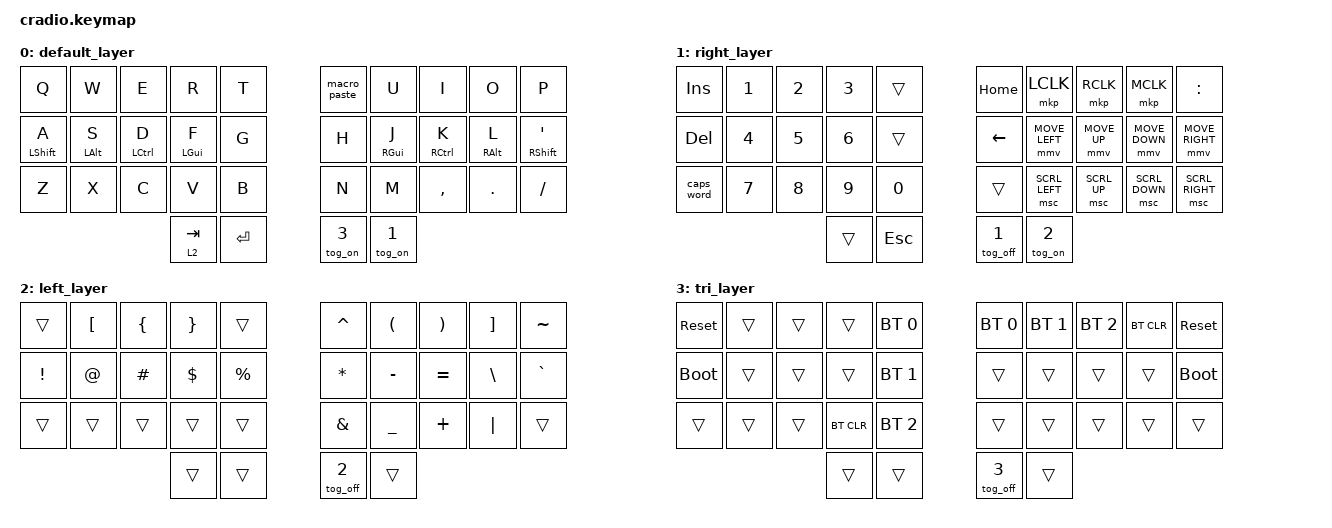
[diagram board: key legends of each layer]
// COPYRIGHT (C) 2022 THE ZMK CONTRIBUTORS
// SPDX-License-Identifier: MIT

#include <behaviors.dtsi>
#include <dt-bindings/zmk/bt.h>
#include <dt-bindings/zmk/keys.h>
#include <dt-bindings/zmk/pointing.h>

/ {
    behaviors {
        ht: hold_tap {
            compatible = "zmk,behavior-hold-tap";
            #binding-cells = <2>;
            flavor = "tap-preferred";
            tapping-term-ms = <220>;
            quick-tap-ms = <150>;
            require-prior-idle-ms = <100>;
            bindings = <&kp>, <&kp>;
        };

        tog_on: toggle_layer_on_only {
            compatible = "zmk,behavior-toggle-layer";
            #binding-cells = <1>;
            display-name = "toggle layer on";
            toggle-mode = "on";
        };

        tog_off: toggle_layer_off_only {
            compatible = "zmk,behavior-toggle-layer";
            #binding-cells = <1>;
            display-name = "toggle layer off";
            toggle-mode = "off";
        };
    };

    macros {
        macro_copy: macro_copy {
            compatible = "zmk,behavior-macro";
            #binding-cells = <0>;
            bindings =
                <&macro_press>,
                <&kp LCTRL>,
                <&macro_tap>,
                <&kp C>,
                <&macro_release>,
                <&kp LCTRL>;
        };

        macro_paste: macro_paste {
            compatible = "zmk,behavior-macro";
            #binding-cells = <0>;
            bindings =
                <&macro_press>,
                <&kp LCTRL>,
                <&macro_tap>,
                <&kp V>,
                <&macro_release>,
                <&kp LCTRL>;
        };
    };

    keymap {
        compatible = "zmk,keymap";

        default_layer {
            bindings = <
&kp Q        &kp W       &kp E        &kp R       &kp T        &macro_paste  &kp U       &kp I        &kp O       &kp P
&ht LSHFT A  &ht LALT S  &ht LCTRL D  &ht LGUI F  &kp G        &kp H         &ht RGUI J  &ht RCTRL K  &ht RALT L  &ht RSHFT SQT
&kp Z        &kp X       &kp C        &kp V       &kp B        &kp N         &kp M       &kp COMMA    &kp DOT     &kp FSLH
                                      &lt 2 TAB   &kp ENTER    &tog_on 3     &tog_on 1
            >;
        };

        right_layer {
            bindings = <
&kp INS     &kp N1  &kp N2  &kp N3  &trans     &kp HOME    &mkp LCLK       &mkp RCLK     &mkp MCLK       &kp COLON
&kp DEL     &kp N4  &kp N5  &kp N6  &trans     &kp LEFT    &mmv MOVE_LEFT  &mmv MOVE_UP  &mmv MOVE_DOWN  &mmv MOVE_RIGHT
&caps_word  &kp N7  &kp N8  &kp N9  &kp N0     &trans      &msc SCRL_LEFT  &msc SCRL_UP  &msc SCRL_DOWN  &msc SCRL_RIGHT
                            &trans  &kp ESC    &tog_off 1  &tog_on 2
            >;
        };

        left_layer {
            bindings = <
&trans    &kp LBKT  &kp LBRC  &kp RBRC  &trans       &kp CARET   &kp LPAR   &kp RPAR   &kp RBKT  &kp TILDE
&kp EXCL  &kp AT    &kp HASH  &kp DLLR  &kp PRCNT    &kp ASTRK   &kp MINUS  &kp EQUAL  &kp BSLH  &kp GRAVE
&trans    &trans    &trans    &trans    &trans       &kp AMPS    &kp UNDER  &kp PLUS   &kp PIPE  &trans
                              &trans    &trans       &tog_off 2  &trans
            >;
        };

        tri_layer {
            bindings = <
&sys_reset   &trans  &trans  &trans      &bt BT_SEL 0    &bt BT_SEL 0  &bt BT_SEL 1  &bt BT_SEL 2  &bt BT_CLR  &sys_reset
&bootloader  &trans  &trans  &trans      &bt BT_SEL 1    &trans        &trans        &trans        &trans      &bootloader
&trans       &trans  &trans  &bt BT_CLR  &bt BT_SEL 2    &trans        &trans        &trans        &trans      &trans
                             &trans      &trans          &tog_off 3    &trans
            >;
        };
    };
};
